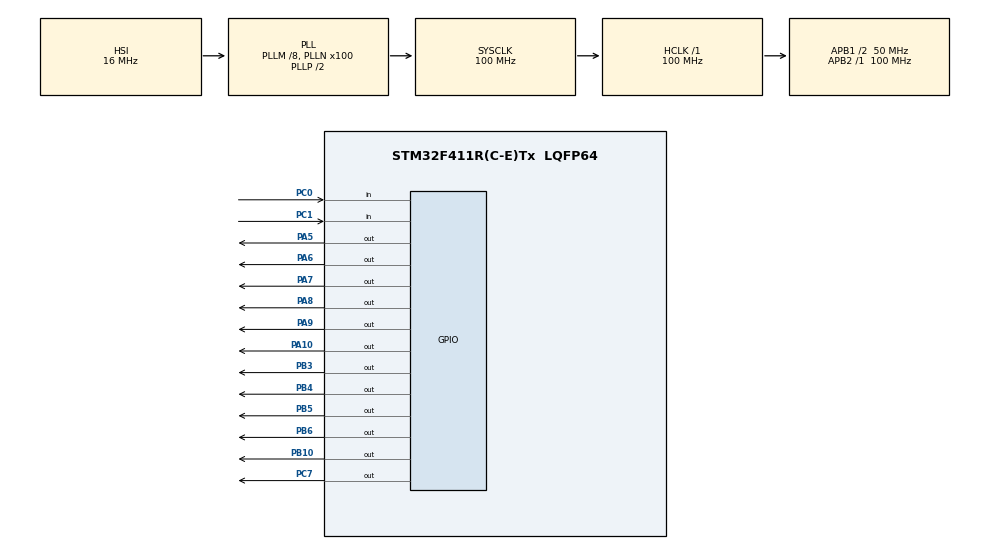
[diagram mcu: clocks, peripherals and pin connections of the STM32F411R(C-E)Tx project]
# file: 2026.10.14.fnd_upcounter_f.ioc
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Mcu.Family=STM32F4
Mcu.Name=STM32F411R(C-E)Tx
Mcu.Package=LQFP64
NVIC.PriorityGroup=NVIC_PRIORITYGROUP_4
PA10.Signal=GPIO_Output
PA5.Signal=GPIO_Output
PA6.Signal=GPIO_Output
PA7.Signal=GPIO_Output
PA8.Signal=GPIO_Output
PA9.Signal=GPIO_Output
PB10.Signal=GPIO_Output
PB3.Signal=GPIO_Output
PB4.Signal=GPIO_Output
PB5.Signal=GPIO_Output
PB6.Signal=GPIO_Output
PC0.Signal=GPIO_Input
PC1.Signal=GPIO_Input
PC7.Signal=GPIO_Output
PH0\ -\ OSC_IN.Mode=HSE-External-Oscillator
PH0\ -\ OSC_IN.Signal=RCC_OSC_IN
PH1\ -\ OSC_OUT.Mode=HSE-External-Oscillator
PH1\ -\ OSC_OUT.Signal=RCC_OSC_OUT
ProjectManager.HeapSize=0x200
ProjectManager.StackSize=0x400
ProjectManager.TargetToolchain=STM32CubeIDE
RCC.48MHZClocksFreq_Value=50000000
RCC.AHBFreq_Value=100000000
RCC.APB1CLKDivider=RCC_HCLK_DIV2
RCC.APB1Freq_Value=50000000
RCC.APB1TimFreq_Value=100000000
RCC.APB2Freq_Value=100000000
RCC.APB2TimFreq_Value=100000000
RCC.CortexFreq_Value=100000000
RCC.HCLKFreq_Value=100000000
RCC.HSE_VALUE=8000000
RCC.HSI_VALUE=16000000
RCC.LSE_VALUE=32768
RCC.PLLM=8
RCC.PLLN=100
RCC.SYSCLKFreq_VALUE=100000000
RCC.SYSCLKSource=RCC_SYSCLKSOURCE_PLLCLK
RCC.VCOOutputFreq_Value=200000000
board=custom

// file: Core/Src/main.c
/* USER CODE BEGIN Header */
/**
 ******************************************************************************
 * @file           : main.c
 * @brief          : Main program body
 ******************************************************************************
 * @attention
 *
 * Copyright (c) 2026 STMicroelectronics.
 * All rights reserved.
 *
 * This software is licensed under terms that can be found in the LICENSE file
 * in the root directory of this software component.
 * If no LICENSE file comes with this software, it is provided AS-IS.
 *
 ******************************************************************************
 */
/* USER CODE END Header */
#include "main.h"

/* USER CODE BEGIN Includes */
#include "driver/fnd/fnd.h"
/* USER CODE END Includes */

/* USER CODE BEGIN PTD */
enum {STOP, RUN, CLEAR};
/* USER CODE END PTD */

/* USER CODE BEGIN PD */
#define BTN1_GPIO GPIOC
#define BTN1_PIN GPIO_PIN_0
#define BTN2_GPIO GPIOC
#define BTN2_PIN GPIO_PIN_1
/* USER CODE END PD */

/* USER CODE BEGIN PV */
uint16_t counter = 0;
uint32_t prevTime = 0;
int state = STOP;

uint8_t prevBtn1 = 1;
uint8_t prevBtn2 = 1;
uint8_t btn1Pressed = 0;
uint8_t btn2Pressed = 0;
/* USER CODE END PV */

void SystemClock_Config(void);
static void MX_GPIO_Init(void);

/* USER CODE BEGIN 0 */
void update_buttons(void){
	uint8_t cur1 = HAL_GPIO_ReadPin(BTN1_GPIO, BTN1_PIN);
	uint8_t cur2 = HAL_GPIO_ReadPin(BTN2_GPIO, BTN2_PIN);

	btn1Pressed = (prevBtn1 == 1 && cur1 == 0);
	btn2Pressed = (prevBtn2 == 1 && cur2 == 0);

	prevBtn1 = cur1;
	prevBtn2 = cur2;
}

void stop_state(void){
	if(btn1Pressed){
		prevTime = HAL_GetTick();
		state = RUN;
	}
	else if(btn2Pressed){
		state = CLEAR;
	}

	fnd_show_number(counter);

}

void run_state(void){
	if(btn1Pressed){
		state = STOP;
	}

	if(HAL_GetTick() - prevTime >= 100) {
		prevTime = HAL_GetTick();
		if(counter == 9999) {
			counter = 0;
		}
		else{
			counter++;
		}
	}
	fnd_show_number(counter);
}

void clear_state(void){
	counter = 0;
	state = STOP;

	fnd_show_number(counter);

}
/* USER CODE END 0 */

int main(void)
{

  /* MCU Configuration--------------------------------------------------------*/

  /* Reset of all peripherals, Initializes the Flash interface and the Systick. */
  HAL_Init();

  /* Configure the system clock */
  SystemClock_Config();

  /* Initialize all configured peripherals */
  MX_GPIO_Init();

  /* Infinite loop */
  /* USER CODE BEGIN WHILE */

	while (1)
	{
		update_buttons();

		switch(state)
		{
		case STOP:
			stop_state();
			break;
		case RUN:
			run_state();
			break;
		case CLEAR:
			clear_state();
			break;
		}

    /* USER CODE END WHILE */

	}
}

void SystemClock_Config(void)
{
  RCC_OscInitTypeDef RCC_OscInitStruct = {0};
  RCC_ClkInitTypeDef RCC_ClkInitStruct = {0};

  /** Configure the main internal regulator output voltage
  */
  __HAL_RCC_PWR_CLK_ENABLE();
  __HAL_PWR_VOLTAGESCALING_CONFIG(PWR_REGULATOR_VOLTAGE_SCALE1);

  /** Initializes the RCC Oscillators according to the specified parameters
  * in the RCC_OscInitTypeDef structure.
  */
  RCC_OscInitStruct.OscillatorType = RCC_OSCILLATORTYPE_HSI;
  RCC_OscInitStruct.HSIState = RCC_HSI_ON;
  RCC_OscInitStruct.HSICalibrationValue = RCC_HSICALIBRATION_DEFAULT;
  RCC_OscInitStruct.PLL.PLLState = RCC_PLL_ON;
  RCC_OscInitStruct.PLL.PLLSource = RCC_PLLSOURCE_HSI;
  RCC_OscInitStruct.PLL.PLLM = 8;
  RCC_OscInitStruct.PLL.PLLN = 100;
  RCC_OscInitStruct.PLL.PLLP = RCC_PLLP_DIV2;
  RCC_OscInitStruct.PLL.PLLQ = 4;
  if (HAL_RCC_OscConfig(&RCC_OscInitStruct) != HAL_OK)
  {
    Error_Handler();
  }

  /** Initializes the CPU, AHB and APB buses clocks
  */
  RCC_ClkInitStruct.ClockType = RCC_CLOCKTYPE_HCLK|RCC_CLOCKTYPE_SYSCLK
                              |RCC_CLOCKTYPE_PCLK1|RCC_CLOCKTYPE_PCLK2;
  RCC_ClkInitStruct.SYSCLKSource = RCC_SYSCLKSOURCE_PLLCLK;
  RCC_ClkInitStruct.AHBCLKDivider = RCC_SYSCLK_DIV1;
  RCC_ClkInitStruct.APB1CLKDivider = RCC_HCLK_DIV2;
  RCC_ClkInitStruct.APB2CLKDivider = RCC_HCLK_DIV1;

  if (HAL_RCC_ClockConfig(&RCC_ClkInitStruct, FLASH_LATENCY_3) != HAL_OK)
  {
    Error_Handler();
  }
}

static void MX_GPIO_Init(void)
{
  GPIO_InitTypeDef GPIO_InitStruct = {0};

  /* GPIO Ports Clock Enable */
  __HAL_RCC_GPIOH_CLK_ENABLE();
  __HAL_RCC_GPIOC_CLK_ENABLE();
  __HAL_RCC_GPIOA_CLK_ENABLE();
  __HAL_RCC_GPIOB_CLK_ENABLE();

  /*Configure GPIO pin Output Level */
  HAL_GPIO_WritePin(GPIOA, GPIO_PIN_5|GPIO_PIN_6|GPIO_PIN_7|GPIO_PIN_8
                          |GPIO_PIN_9|GPIO_PIN_10, GPIO_PIN_RESET);

  /*Configure GPIO pin Output Level */
  HAL_GPIO_WritePin(GPIOB, GPIO_PIN_10|GPIO_PIN_3|GPIO_PIN_4|GPIO_PIN_5
                          |GPIO_PIN_6, GPIO_PIN_RESET);

  /*Configure GPIO pin Output Level */
  HAL_GPIO_WritePin(GPIOC, GPIO_PIN_7, GPIO_PIN_RESET);

  /*Configure GPIO pins : PC0 PC1 */
  GPIO_InitStruct.Pin = GPIO_PIN_0|GPIO_PIN_1;
  GPIO_InitStruct.Mode = GPIO_MODE_INPUT;
  GPIO_InitStruct.Pull = GPIO_NOPULL;
  HAL_GPIO_Init(GPIOC, &GPIO_InitStruct);

  /*Configure GPIO pins : PA5 PA6 PA7 PA8
                           PA9 PA10 */
  GPIO_InitStruct.Pin = GPIO_PIN_5|GPIO_PIN_6|GPIO_PIN_7|GPIO_PIN_8
                          |GPIO_PIN_9|GPIO_PIN_10;
  GPIO_InitStruct.Mode = GPIO_MODE_OUTPUT_PP;
  GPIO_InitStruct.Pull = GPIO_NOPULL;
  GPIO_InitStruct.Speed = GPIO_SPEED_FREQ_LOW;
  HAL_GPIO_Init(GPIOA, &GPIO_InitStruct);

  /*Configure GPIO pins : PB10 PB3 PB4 PB5
                           PB6 */
  GPIO_InitStruct.Pin = GPIO_PIN_10|GPIO_PIN_3|GPIO_PIN_4|GPIO_PIN_5
                          |GPIO_PIN_6;
  GPIO_InitStruct.Mode = GPIO_MODE_OUTPUT_PP;
  GPIO_InitStruct.Pull = GPIO_NOPULL;
  GPIO_InitStruct.Speed = GPIO_SPEED_FREQ_LOW;
  HAL_GPIO_Init(GPIOB, &GPIO_InitStruct);

  /*Configure GPIO pin : PC7 */
  GPIO_InitStruct.Pin = GPIO_PIN_7;
  GPIO_InitStruct.Mode = GPIO_MODE_OUTPUT_PP;
  GPIO_InitStruct.Pull = GPIO_NOPULL;
  GPIO_InitStruct.Speed = GPIO_SPEED_FREQ_LOW;
  HAL_GPIO_Init(GPIOC, &GPIO_InitStruct);

}

void Error_Handler(void)
{
	__disable_irq();
	while (1)
	{
	}
}
